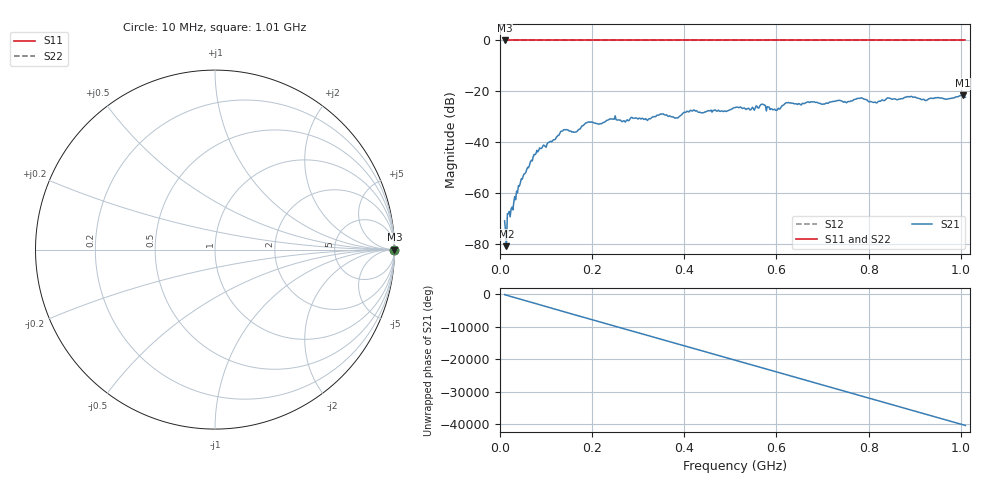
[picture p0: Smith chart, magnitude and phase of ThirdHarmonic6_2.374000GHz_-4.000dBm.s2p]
! 8/17/2025 3:44:01 AM
! C:\ANRITSUVNA\TEMP\TEMP.S2P
! CHANNEL.1
! TR.MEASUREMENT
! RAW.DATA
! RF.CORRECTION.OFF
! AVERAGING.OFF
! IF.BANDWIDTH: 5KHZ
! SWEEPTYPE:  FREQ.SWEEP(Linear)
! Reference Plane Port Info
! PORT:  PORT1  PORT2
! DISTANCE:  0  m  0  m
! TIME:  0  s  0  s
! PHASE.OFFSET:  0  deg.  0  deg.
! LOSS:  0  dB  0  dB
! REF.LOSS:  0  dB  0  dB
! REF.FREQ:  0  Hz  0  Hz
! Power Info
! POWER:  -20  dBm  -20  dBm
! EFF.POWER:  -20  dBm  -20  dBm
! SOURCE.ATTEN:  0  dB  0  dB
! TEST.ATTEN:  0  dB  0  dB
# GHZ S RI R 50.0
! FREQ.GHZ  S11RE  S11IM  S21RE  S21IM  S12RE  S12IM  S22RE  S22IM
!; PortSelection: Port_12
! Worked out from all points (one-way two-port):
!   501 points, 10 MHz to 1.01 GHz, reference 50 ohm
!   highest |S21| = -21.53 dB at 1.004 GHz (marker M1); lowest = -81.0 dB at 14 MHz (marker M2)
!   lowest |S11| = 0.0 dB at 10 MHz (marker M3)
!   |S11| at or under -10 dB: nowhere
!   |S22| runs from 0.0 to 0.0 dB; largest |S21 - S12| = 1.1
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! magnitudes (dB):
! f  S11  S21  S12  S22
! 10 MHz  0.0  -71.1  0.0  0.0
! 14 MHz  0.0  -81.0  0.0  0.0
! 44 MHz  0.0  -56.2  0.0  0.0
! 76 MHz  0.0  -45.0  0.0  0.0
! 136 MHz  0.0  -35.7  0.0  0.0
! 164 MHz  0.0  -36.0  0.0  0.0
! 178 MHz  0.0  -33.6  0.0  0.0
! 246 MHz  0.0  -31.0  0.0  0.0
! 268 MHz  0.0  -31.6  0.0  0.0
! 344 MHz  0.0  -29.4  0.0  0.0
! 382 MHz  0.0  -30.5  0.0  0.0
! 416 MHz  0.0  -27.8  0.0  0.0
! 510 MHz  0.0  -26.5  0.0  0.0
! 570 MHz  0.0  -25.1  0.0  0.0
! 598 MHz  0.0  -27.5  0.0  0.0
! 622 MHz  0.0  -24.5  0.0  0.0
! 678 MHz  0.0  -24.2  0.0  0.0
! 782 MHz  0.0  -22.7  0.0  0.0
! 814 MHz  0.0  -24.2  0.0  0.0
! 844 MHz  0.0  -22.7  0.0  0.0
! 1.004 GHz  0.0  -21.5  0.0  0.0
! 1.01 GHz  0.0  -22.3  0.0  0.0
